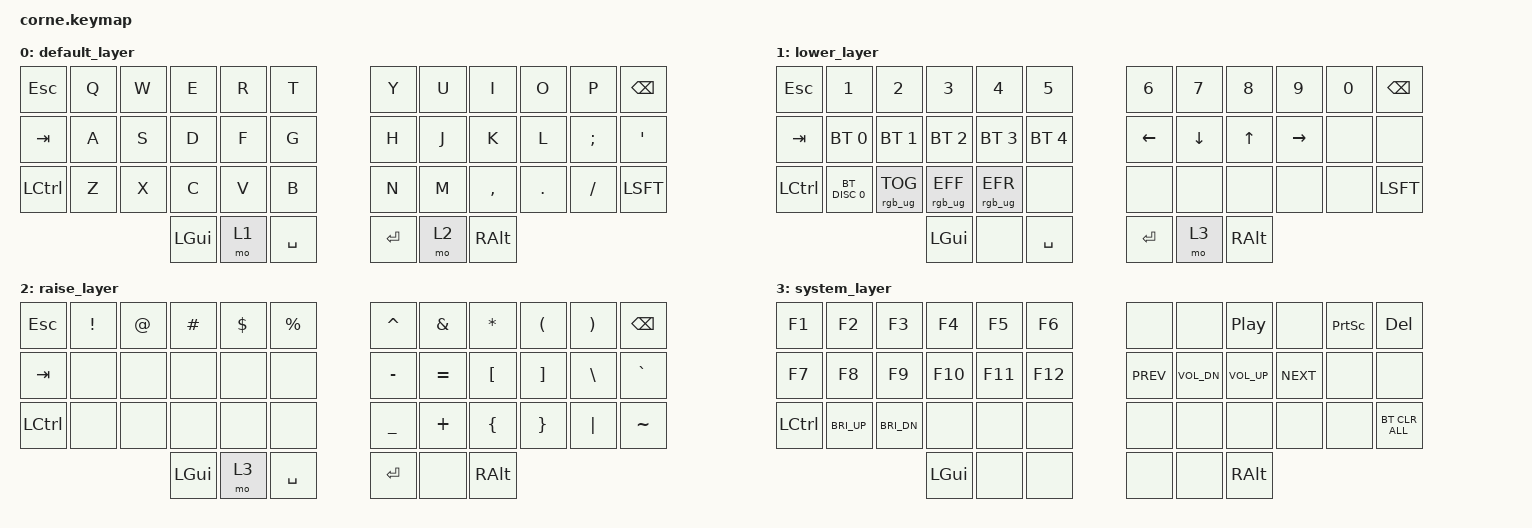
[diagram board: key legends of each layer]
/*
 * Copyright (c) 2020 The ZMK Contributors
 * SPDX-License-Identifier: MIT
 */

// MUST BE FIRST - defines core behaviors
#include <behaviors.dtsi>

// Then other includes
#include <dt-bindings/zmk/keys.h>
#include <dt-bindings/zmk/bt.h>
#include <dt-bindings/zmk/rgb.h>

/ {
    keymap {
        compatible = "zmk,keymap";

        /* ====================== */
        /* DEFAULT LAYER (QWERTY) */
        /* ====================== */
        default_layer {
            /*
             * ---------------------------------------------------------------------------------
             * | ESC | Q | W | E | R | T |   | Y | U | I | O | P | BSPC |
             * | TAB | A | S | D | F | G |   | H | J | K | L | ; | ' |
             * | CTRL | Z | X | C | V | B |   | N | M | , | . | / | SHFT |
             *                | GUI | LWR | SPC |   | ENT | RSE | ALT |
             */
            bindings = <
                &kp ESC  &kp Q  &kp W  &kp E  &kp R  &kp T      &kp Y  &kp U  &kp I  &kp O  &kp P  &kp BSPC
                &kp TAB  &kp A  &kp S  &kp D  &kp F  &kp G      &kp H  &kp J  &kp K  &kp L  &kp SEMI  &kp SQT
                &kp LCTL &kp Z  &kp X  &kp C  &kp V  &kp B      &kp N  &kp M  &kp COMMA  &kp DOT  &kp FSLH  &kp LSFT
                                     &kp LGUI  &mo 1  &kp SPACE      &kp RET  &mo 2  &kp RALT
            >;
        };

        /* ================================== */
        /* LOWER LAYER (Numbers, Bluetooth, RGB) */
        /* ================================== */
        lower_layer {
            /*
             * ---------------------------------------------------------------------------------
             * | ESC | 1 | 2 | 3 | 4 | 5 |   | 6 | 7 | 8 | 9 | 0 | Backspace |
             * | TAB | BT1 | BT2 | BT3 | BT4 | BT5 |   | Left | Down | Up | Right | (none) |
             * | Ctrl | BT Disc | RGB Toggle | RGB Effect | RGB Effect Reverse |   | (none) | (none) | (none) | (none) | (none) | SHFT |
             *                | GUI | (none) | Space |   | Enter | Sys Layer | Alt |
             */
            bindings = <
                &kp ESC  &kp N1  &kp N2  &kp N3  &kp N4  &kp N5      &kp N6  &kp N7  &kp N8  &kp N9  &kp N0  &kp BSPC
                &kp TAB  &bt BT_SEL 0  &bt BT_SEL 1  &bt BT_SEL 2  &bt BT_SEL 3  &bt BT_SEL 4      &kp LEFT  &kp DOWN  &kp UP  &kp RIGHT  &none  &none
                &kp LCTL  &bt BT_DISC 0  &rgb_ug RGB_TOG  &rgb_ug RGB_EFF  &rgb_ug RGB_EFR &none      &none  &none  &none  &none  &none  &kp LSFT
                                     &kp LGUI  &none  &kp SPACE      &kp RET  &mo 3  &kp RALT
            >;
        };

        /* ===================== */
        /* RAISE LAYER (Symbols) */
        /* ===================== */
        raise_layer {
            /*
             * ---------------------------------------------------------------------------------
             * | ESC | ! | @ | # | $ | % |   | ^ | & | * | ( | ) | Backspace |
             * | TAB | | | | | |   | - | = | [ | ] | \ | ` |
             * | CTRL | | | | | |   | _ | + | { | } | | | ~ |
             *                | GUI | Sys Layer| SPC |   | ENT | | ALT |
             */
            bindings = <
                &kp ESC  &kp EXCL  &kp AT  &kp HASH  &kp DLLR  &kp PRCNT      &kp CARET  &kp AMPS  &kp STAR  &kp LPAR  &kp RPAR  &kp BSPC
                &kp TAB  &none  &none  &none  &none  &none      &kp MINUS  &kp EQUAL  &kp LBKT  &kp RBKT  &kp BSLH  &kp GRAVE
                &kp LCTL  &none  &none  &none  &none  &none      &kp UNDER  &kp PLUS  &kp LBRC  &kp RBRC  &kp PIPE  &kp TILDE
                                     &kp LGUI  &mo 3  &kp SPACE      &kp RET  &none  &kp RALT
            >;
        };

        /* ===================== */
        /* SYSTEM LAYER (Lower + Raise: F-Keys + System Controls) */
        /* ===================== */
        system_layer {
            /*
             * ---------------------------------------------------------------------------------
             * | F1 | F2 | F3 | F4 | F5 | F6 |   | (none) | Play/Pause | (none) | Screenshot | DEL |
             * | F7 | F8 | F9 | F10 | F11 | F12 |   | Prev Track | Vol- | Vol+ | Next Track | none |
             * | Ctrl | Brightness Down | Brightness Up | (none) | (none) | (none) |   | (none) | (none) | (none) | (none) | BT_CLR_ALL |
             *                | GUI | (none) | (none) |   | (none) | (none) | Alt |
             */
            bindings = <
                &kp F1   &kp F2  &kp F3      &kp F4              &kp F5  &kp F6      &none       &none         &kp C_PP      &none       &kp PRINTSCREEN    &kp DEL
                &kp F7   &kp F8  &kp F9      &kp F10             &kp F11 &kp F12     &kp C_PREV  &kp C_VOL_DN  &kp C_VOL_UP  &kp C_NEXT  &none              &none
                &kp LCTL &kp C_BRI_UP &kp C_BRI_DN &none   &none &none       &none       &none         &none         &none       &none              &bt BT_CLR_ALL
                                     &kp LGUI  &none  &none      &none    &none    &kp RALT
            >;
        };
    };
};
